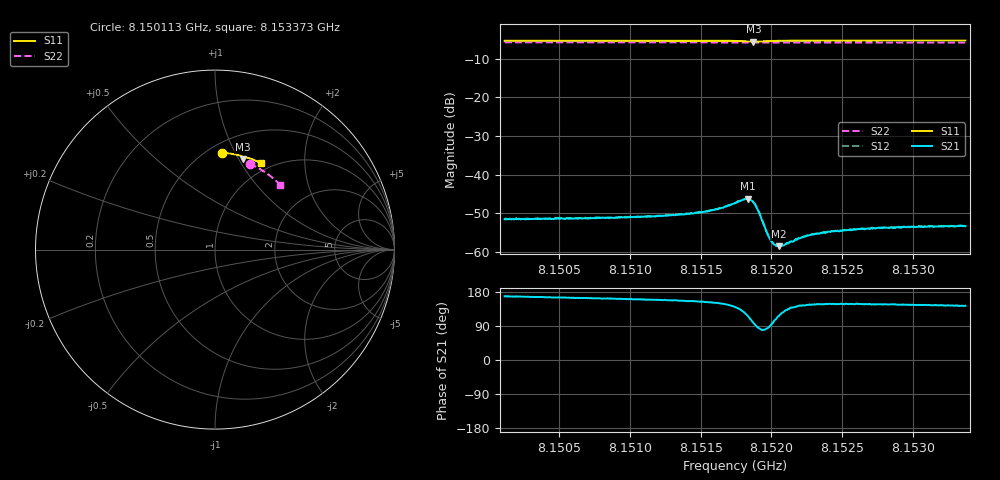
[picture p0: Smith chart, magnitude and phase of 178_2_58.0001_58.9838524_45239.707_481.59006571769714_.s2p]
#  HZ  S  RI  R  50.00
! Rohde & Schwarz Vector Network Analyzer
! Rohde-Schwarz,ZNB20-2Port,1311601062101988,3.16
! Created: UTC 3/21/2024, 12:58:13 AM
! freq[Hz]  re:S11  im:S11  re:S21  im:S21  re:S12  im:S12  re:S22  im:S22
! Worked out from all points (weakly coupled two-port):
!   401 points, 8.150113 GHz to 8.153373 GHz, reference 50 ohm
!   highest |S21| = -46.23 dB at 8.151832 GHz (marker M1); lowest = -58.5 dB at 8.152053 GHz (marker M2)
!   lowest |S11| = -5.6 dB at 8.151873 GHz (marker M3), VSWR 3.22, Z = 37.4 + j51.9 ohm
!   |S11| at or under -10 dB: nowhere
!   |S22| runs from -5.8 to -5.8 dB; largest |S21 - S12| = 0.00013
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8.1501126e9  0.0392 0.5392  -0.0026 0.000546  -0.00263 0.000602  0.1934 0.478
8.1506588e9  0.0775 0.5361  -0.00259 0.000783  -0.00263 0.000835  0.2254 0.4631
8.1512049e9  0.1159 0.5297  -0.00274 0.00107  -0.00272 0.00111  0.2562 0.446
8.1515309e9  0.1397 0.5238  -0.00297 0.00152  -0.00295 0.00156  0.2742 0.4348
8.151645e9  0.1487 0.5202  -0.00319 0.00191  -0.00317 0.00196  0.2801 0.4306
8.1517428e9  0.1567 0.5148  -0.00327 0.00276  -0.00327 0.00286  0.2852 0.427
8.1517999e9  0.1599 0.5088  -0.00292 0.00372  -0.0029 0.0038  0.2882 0.4246
8.1518325e9  0.1591 0.5046  -0.00218 0.00437  -0.00216 0.00443  0.2898 0.4235
8.1518569e9  0.1565 0.5025  -0.00129 0.0045  -0.00121 0.00457  0.2908 0.4223
8.1518732e9  0.1543 0.5024  -0.000598 0.00436  -0.000578 0.00439  0.2915 0.4219
8.1519058e9  0.1512 0.5053  0.000275 0.00345  0.000332 0.00348  0.2931 0.4208
8.1519629e9  0.1535 0.5117  0.000254 0.00188  0.000281 0.00186  0.2962 0.419
8.1519873e9  0.156 0.5132  4.15e-05 0.00151  7.11e-05 0.00154  0.2974 0.4182
8.1520036e9  0.1577 0.5138  -0.000124 0.00135  -0.000104 0.00136  0.2983 0.4176
8.1520199e9  0.1595 0.5144  -0.000293 0.00121  -0.000257 0.00121  0.2992 0.4171
8.1520525e9  0.1627 0.5148  -0.000526 0.00107  -0.000494 0.00109  0.3011 0.4158
8.1520851e9  0.1659 0.5148  -0.000713 0.00098  -0.000729 0.00101  0.3025 0.4145
8.1522074e9  0.1761 0.5132  -0.00122 0.000902  -0.00124 0.000951  0.3089 0.4097
8.1522889e9  0.1824 0.5115  -0.00141 0.000928  -0.0014 0.000963  0.313 0.4064
8.1525253e9  0.1991 0.5062  -0.00163 0.001  -0.00163 0.00104  0.3247 0.3968
8.152835e9  0.2198 0.4983  -0.00173 0.00115  -0.00172 0.00114  0.3396 0.3837
8.153373e9  0.2542 0.4828  -0.00173 0.00129  -0.00177 0.00136  0.3638 0.3596
